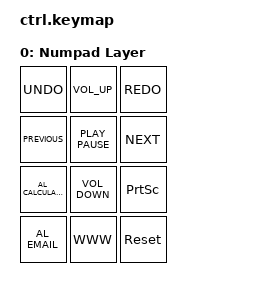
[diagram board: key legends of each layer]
#include <behaviors.dtsi>
#include <dt-bindings/zmk/keys.h>
#include <dt-bindings/zmk/bt.h>
#include <locale/keys_de.h>

/ {
    keymap {
        compatible = "zmk,keymap";

        default_layer {
            display-name = "Numpad Layer";

            bindings = <
                &kp K_UNDO              &kp K_VOLUME_UP     &kp K_REDO
                &kp K_PREVIOUS          &kp K_PLAY_PAUSE    &kp K_NEXT
                &kp C_AL_CALCULATOR     &kp K_VOLUME_DOWN   &kp PRINTSCREEN
                &kp C_AL_EMAIL          &kp K_WWW           &sys_reset
            >;
        };
    };

    combos {
        compatible = "zmk,combos";
        combo_reset {
            timeout-ms = <250>;
            key-positions = <1 4 7>;
            bindings = <&bootloader>;
        };
    };
};
